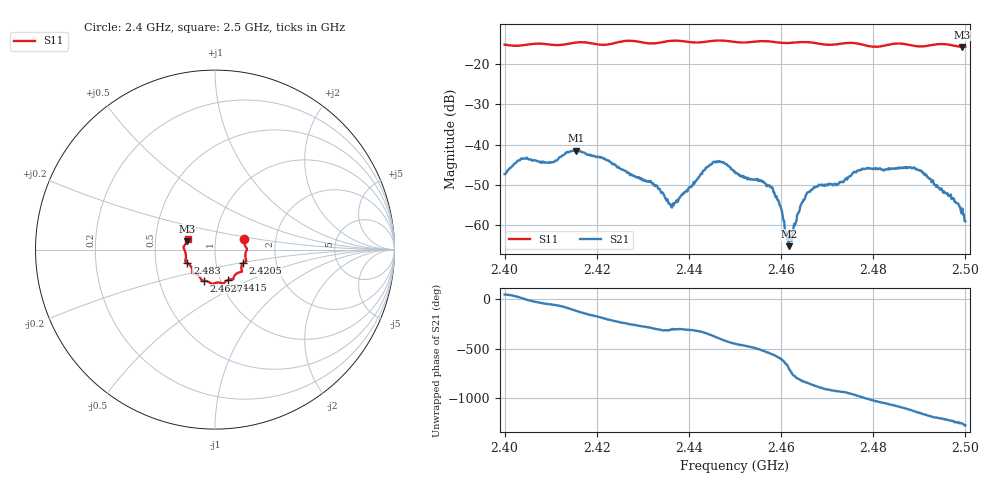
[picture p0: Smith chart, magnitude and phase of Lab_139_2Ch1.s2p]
# Hz S RI R 50
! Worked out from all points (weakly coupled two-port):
!   601 points, 2.4 GHz to 2.5 GHz, reference 50 ohm
!   highest |S21| = -41.48 dB at 2.4155 GHz (marker M1); lowest = -65.1 dB at 2.4617 GHz (marker M2)
!   lowest |S11| = -15.8 dB at 2.4993 GHz (marker M3), VSWR 1.39, Z = 36.4 + j3.62 ohm
!   |S11| at or under -10 dB: start of sweep to end of sweep
!   S12 and S22 are empty: the file has one direction only
!   S11 on the Smith chart (normalised r, x): 2.4 GHz: 1.38, +0.16; 2.4205 GHz: 1.35, -0.21; 2.4415 GHz: 1.09, -0.38; 2.4627 GHz: 0.84, -0.30; 2.483 GHz: 0.73, -0.11; 2.5 GHz: 0.73, +0.09
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2.4e9  0.1637 0.0574  0.00318 0.00293  0 0  0 0
2.403667e9  0.168 0.0208  0.00667 0.00081  0 0  0 0
2.410167e9  0.1722 -0.012  0.00331 -0.00501  0 0  0 0
2.4155e9  0.1741 -0.0597  -0.00433 -0.00724  0 0  0 0
2.416667e9  0.1744 -0.0635  -0.00603 -0.0054  0 0  0 0
2.4205e9  0.1559 -0.0756  -0.00698 0.000344  0 0  0 0
2.433333e9  0.1073 -0.1472  0.00172 0.00225  0 0  0 0
2.4365e9  0.1023 -0.1646  0.000989 0.00159  0 0  0 0
2.4415e9  0.0734 -0.1686  0.00273 0.00223  0 0  0 0
2.445667e9  0.0487 -0.1881  0.00569 -0.00228  0 0  0 0
2.45e9  0.0302 -0.1844  -0.000198 -0.00462  0 0  0 0
2.458e9  -0.024 -0.1869  -0.0028 0.000857  0 0  0 0
2.461667e9  -0.0529 -0.174  0.000519 0.000191  0 0  0 0
2.462667e9  -0.0609 -0.1729  0.000583 -0.000699  0 0  0 0
2.464667e9  -0.0721 -0.172  -0.00065 -0.00182  0 0  0 0
2.466667e9  -0.0769 -0.1672  -0.00222 -0.00163  0 0  0 0
2.477333e9  -0.1261 -0.1216  -0.00035 0.00486  0 0  0 0
2.483e9  -0.1542 -0.0752  0.00445 0.00212  0 0  0 0
2.483333e9  -0.1566 -0.0741  0.00471 0.00201  0 0  0 0
2.490167e9  -0.1623 -0.0279  0.00175 -0.00441  0 0  0 0
2.499333e9  -0.1553 0.0484  -0.00161 -0.000199  0 0  0 0
2.5e9  -0.1529 0.0573  -0.0011 0.000237  0 0  0 0
